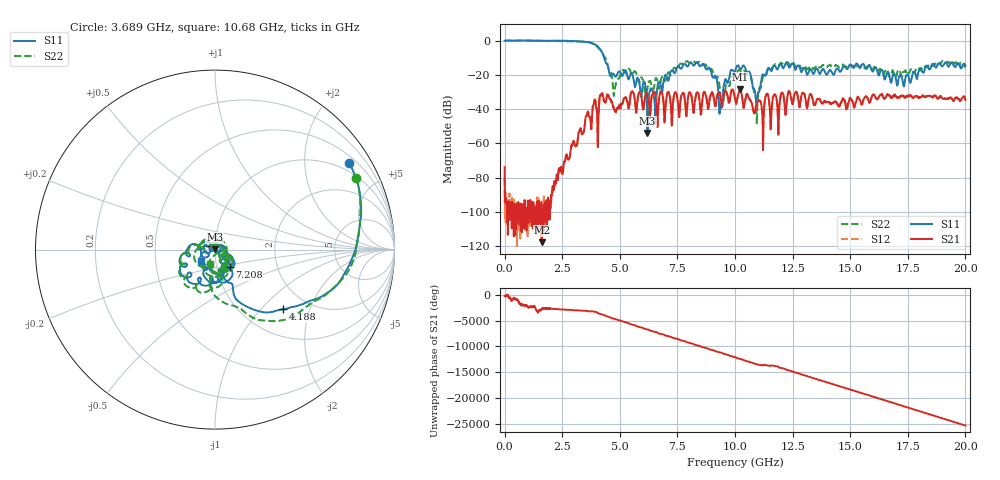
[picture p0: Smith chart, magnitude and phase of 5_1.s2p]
#  HZ  S  RI  R  50.00
! Rohde & Schwarz Vector Network Analyzer
! Rohde-Schwarz,ZNB20-2Port,1311601062102128,3.60
! Created: UTC 4/29/2024, 2:53:24 PM
! freq[Hz]  re:S11  im:S11  re:S21  im:S21  re:S12  im:S12  re:S22  im:S22
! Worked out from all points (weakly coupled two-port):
!   2007 points, 100 kHz to 20 GHz, reference 50 ohm
!   highest |S21| = -28.51 dB at 10.22 GHz (marker M1); lowest = -117.7 dB at 1.625 GHz (marker M2)
!   lowest |S11| = -54.0 dB at 6.201 GHz (marker M3), VSWR 1.00, Z = 49.9 + j0.147 ohm
!   |S11| at or under -10 dB: 4.324 GHz to end of sweep
!   |S22| runs from -48.8 to 0.1 dB; largest |S21 - S12| = 0.0021
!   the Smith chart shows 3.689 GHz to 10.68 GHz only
!   S11 on the Smith chart (normalised r, x): 3.689 GHz: 0.70, +3.27; 4.188 GHz: 1.50, -1.34; 7.208 GHz: 1.15, -0.23; 10.68 GHz: 0.85, -0.11
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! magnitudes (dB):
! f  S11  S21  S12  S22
! 100 kHz  0.0  -73.9  -80.8  0.1
! 1.625 GHz  -0.1  -117.7  -109.0  -0.1
! 2.233 GHz  0.0  -83.1  -81.5  -0.3
! 3.34 GHz  -0.6  -54.0  -53.7  -0.6
! 3.689 GHz  -1.0  -44.7  -44.8  -1.1
! 4.188 GHz  -6.0  -31.8  -32.0  -6.0
! 4.766 GHz  -20.3  -40.3  -40.3  -29.7
! 5.374 GHz  -22.5  -39.5  -39.5  -16.4
! 6.201 GHz  -54.0  -32.4  -32.4  -27.7
! 6.67 GHz  -24.7  -39.0  -39.2  -25.5
! 7.208 GHz  -17.9  -36.7  -37.0  -20.0
! 8.624 GHz  -13.7  -31.3  -31.3  -14.2
! 9.153 GHz  -20.7  -38.3  -38.2  -21.9
! 9.382 GHz  -36.3  -34.2  -34.3  -35.0
! 10 GHz  -18.1  -33.6  -33.5  -20.2
! 10.22 GHz  -16.5  -28.5  -28.5  -17.4
! 10.68 GHz  -20.0  -35.1  -35.0  -21.4
! 10.93 GHz  -37.5  -37.5  -37.5  -37.7
! 11.71 GHz  -14.5  -31.7  -31.7  -14.1
! 13.34 GHz  -18.0  -32.7  -32.7  -15.3
! 16.67 GHz  -19.1  -31.8  -31.8  -20.5
! 20 GHz  -14.6  -34.6  -34.6  -14.3
